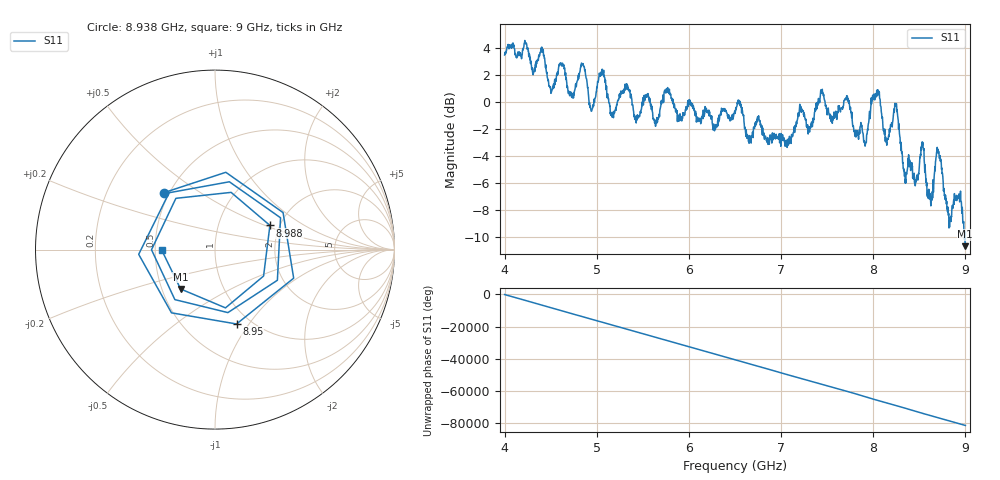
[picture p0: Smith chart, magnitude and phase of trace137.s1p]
! Created with skrf 1.8.0 (http://scikit-rf.org).
# Hz S RI R 50.0
!freq ReS11 ImS11
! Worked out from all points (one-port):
!   1601 points, 4 GHz to 9 GHz, reference 50 ohm
!   lowest |S11| = -10.7 dB at 8.997 GHz (marker M1), VSWR 1.82, Z = 31.2 - j14.9 ohm
!   |S11| at or under -10 dB: 8.990049 GHz to 8.992138 GHz (2.089 MHz wide, 0.0232 % of centre); 8.99502 GHz to end of sweep
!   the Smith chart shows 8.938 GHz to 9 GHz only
!   S11 on the Smith chart (normalised r, x): 8.938 GHz: 0.47, +0.36; 8.95 GHz: 0.86, -0.88; 8.988 GHz: 1.78, +0.54; 9 GHz: 0.54, -0.00
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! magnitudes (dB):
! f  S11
! 4 GHz  3.5
! 4.506 GHz  0.8
! 4.625 GHz  2.7
! 4.728 GHz  0.3
! 4.85 GHz  2.9
! 4.941 GHz  -0.7
! 5.05 GHz  2.3
! 5.169 GHz  -1.0
! 5.25 GHz  0.4
! 5.875 GHz  -1.4
! 6.5 GHz  -0.9
! 7.125 GHz  -2.6
! 7.438 GHz  0.7
! 7.75 GHz  -0.5
! 7.909 GHz  -3.1
! 8.028 GHz  0.6
! 8.147 GHz  -3.2
! 8.244 GHz  -0.2
! 8.375 GHz  -4.8
! 8.531 GHz  -3.0
! 8.622 GHz  -7.3
! 8.709 GHz  -3.7
! 8.825 GHz  -8.8
! 8.938 GHz  -7.4
! 8.95 GHz  -7.3
! 8.988 GHz  -9.5
! 8.997 GHz  -10.7
! 9 GHz  -10.5
